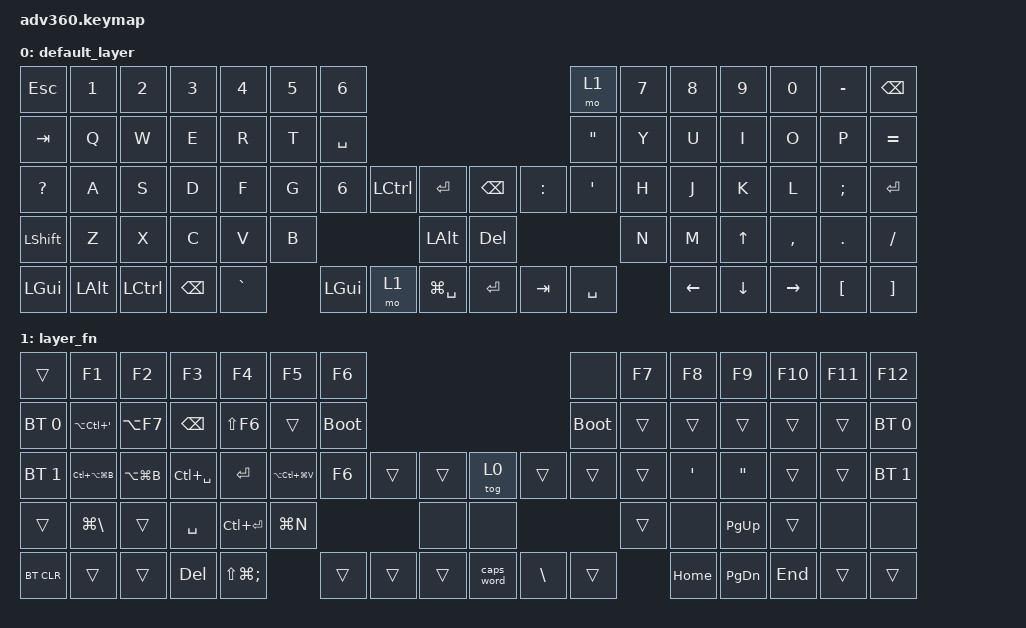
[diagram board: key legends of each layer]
#include <dt-bindings/zmk/stp.h>
#include <behaviors.dtsi>
#include <dt-bindings/zmk/bt.h>
#include <dt-bindings/zmk/keys.h>

/ {
    behaviors {
        #include "macros.dtsi"
      #include "version.dtsi"

        hm: homerow_mods {
            compatible = "zmk,behavior-hold-tap";
            label = "HOMEROW_MODS";
            #binding-cells = <2>;
            tapping-term-ms = <200>;
            quick_tap_ms = <175>;
            flavor = "tap-preferred";
            bindings = <&kp>, <&kp>;
        };
    };

    keymap {
        compatible = "zmk,keymap";

        default_layer {
            bindings = <
&kp ESCAPE      &kp N1    &kp N2     &kp N3         &kp N4     &kp N5  &kp N6                                                             &mo 1              &kp N7  &kp N8    &kp N9        &kp N0     &kp MINUS         &kp BACKSPACE
&kp TAB         &kp Q     &kp W      &kp E          &kp R      &kp T   &kp SPACE                                                          &kp DOUBLE_QUOTES  &kp Y   &kp U     &kp I         &kp O      &kp P             &kp EQUAL
&kp QUESTION    &kp A     &kp S      &kp D          &kp F      &kp G   &kp N6     &kp LCTRL  &kp ENTER          &kp BACKSPACE  &kp COLON  &kp SINGLE_QUOTE   &kp H   &kp J     &kp K         &kp L      &kp SEMI          &kp ENTER
&kp LEFT_SHIFT  &kp Z     &kp X      &kp C          &kp V      &kp B                         &kp LALT           &kp DELETE                                   &kp N   &kp M     &kp UP_ARROW  &kp COMMA  &kp DOT           &kp SLASH
&kp LGUI        &kp LALT  &kp LCTRL  &kp BACKSPACE  &kp GRAVE          &kp LGUI   &mo 1      &kp LG(SPACE)      &kp ENTER      &kp TAB    &kp SPACE                  &kp LEFT  &kp DOWN      &kp RIGHT  &kp LEFT_BRACKET  &kp RIGHT_BRACKET
            >;
        };

        layer_fn {
            bindings = <
&trans        &kp F1                    &kp F2         &kp F3         &kp F4                 &kp F5             &kp F6                                                      &none        &kp F7  &kp F8            &kp F9             &kp F10  &kp F11  &kp F12
&bt BT_SEL 0  &kp LA(LC(SINGLE_QUOTE))  &kp LA(F7)     &kp BACKSPACE  &kp LS(F6)             &trans             &bootloader                                                 &bootloader  &trans  &trans            &trans             &trans   &trans   &bt BT_SEL 0
&bt BT_SEL 1  &kp LC(LA(LG(B)))         &kp LA(LG(B))  &kp LC(SPACE)  &kp ENTER              &kp LA(LC(LG(V)))  &kp F6       &trans  &trans      &tog 0      &trans         &trans       &trans  &kp SINGLE_QUOTE  &kp DOUBLE_QUOTES  &trans   &trans   &bt BT_SEL 1
&trans        &kp LG(BACKSLASH)         &trans         &kp SPACE      &kp LC(ENTER)          &kp LG(N)                               &none       &none                                   &trans  &none             &kp PG_UP          &trans   &none    &none
&bt BT_CLR    &trans                    &trans         &kp DEL        &kp LS(LG(SEMICOLON))                     &trans       &trans  &trans      &caps_word  &kp BACKSLASH  &trans               &kp HOME          &kp PAGE_DOWN      &kp END  &trans   &trans
            >;
        };
    };
};
